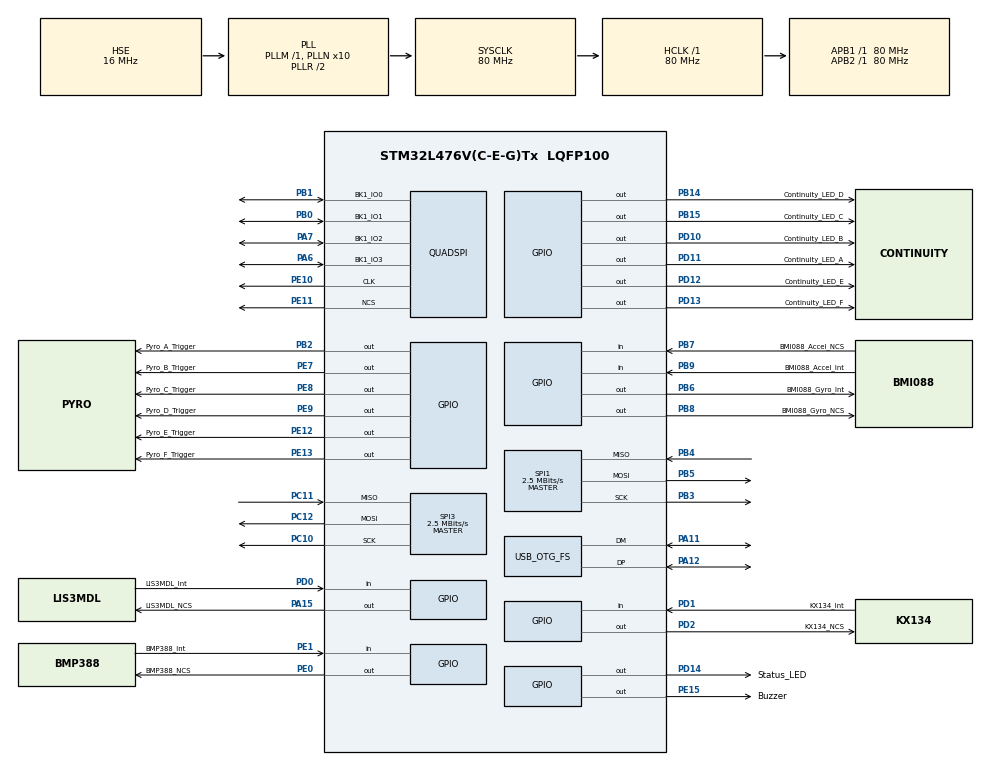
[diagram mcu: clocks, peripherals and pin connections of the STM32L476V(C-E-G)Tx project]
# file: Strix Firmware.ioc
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Mcu.Family=STM32L4
Mcu.Name=STM32L476V(C-E-G)Tx
Mcu.Package=LQFP100
NVIC.OTG_FS_IRQn=true\:0\:0\:false\:false\:true\:false\:true\:true
NVIC.PriorityGroup=NVIC_PRIORITYGROUP_4
PA11.Mode=Device_Only
PA11.Signal=USB_OTG_FS_DM
PA12.Mode=Device_Only
PA12.Signal=USB_OTG_FS_DP
PA13\ (JTMS-SWDIO).Mode=Serial_Wire
PA13\ (JTMS-SWDIO).Signal=SYS_JTMS-SWDIO
PA14\ (JTCK-SWCLK).Mode=Serial_Wire
PA14\ (JTCK-SWCLK).Signal=SYS_JTCK-SWCLK
PA15\ (JTDI).GPIO_Label=LIS3MDL_NCS
PA15\ (JTDI).Signal=GPIO_Output
PA6.Mode=Single Bank
PA6.Signal=QUADSPI_BK1_IO3
PA7.Mode=Single Bank
PA7.Signal=QUADSPI_BK1_IO2
PB0.Mode=Single Bank
PB0.Signal=QUADSPI_BK1_IO1
PB1.Mode=Single Bank
PB1.Signal=QUADSPI_BK1_IO0
PB14.GPIO_Label=Continuity_LED_D
PB14.Signal=GPIO_Output
PB15.GPIO_Label=Continuity_LED_C
PB15.Signal=GPIO_Output
PB2.GPIO_Label=Pyro_A_Trigger
PB2.Signal=GPIO_Output
PB3\ (JTDO-TRACESWO).Mode=Full_Duplex_Master
PB3\ (JTDO-TRACESWO).Signal=SPI1_SCK
PB4\ (NJTRST).Mode=Full_Duplex_Master
PB4\ (NJTRST).Signal=SPI1_MISO
PB5.Mode=Full_Duplex_Master
PB5.Signal=SPI1_MOSI
PB6.GPIO_Label=BMI088_Gyro_Int
PB6.Signal=GPIO_Output
PB7.GPIO_Label=BMI088_Accel_NCS
PB7.Signal=GPIO_Input
PB8.GPIO_Label=BMI088_Gyro_NCS
PB8.Signal=GPIO_Output
PB9.GPIO_Label=BMI088_Accel_Int
PB9.Signal=GPIO_Input
PC10.Mode=Full_Duplex_Master
PC10.Signal=SPI3_SCK
PC11.Mode=Full_Duplex_Master
PC11.Signal=SPI3_MISO
PC12.Mode=Full_Duplex_Master
PC12.Signal=SPI3_MOSI
PD0.GPIO_Label=LIS3MDL_Int
PD0.Signal=GPIO_Input
PD1.GPIO_Label=KX134_Int
PD1.Signal=GPIO_Input
PD10.GPIO_Label=Continuity_LED_B
PD10.Signal=GPIO_Output
PD11.GPIO_Label=Continuity_LED_A
PD11.Signal=GPIO_Output
PD12.GPIO_Label=Continuity_LED_E
PD12.Signal=GPIO_Output
PD13.GPIO_Label=Continuity_LED_F
PD13.Signal=GPIO_Output
PD14.GPIO_Label=Status_LED
PD14.Signal=GPIO_Output
PD2.GPIO_Label=KX134_NCS
PD2.Signal=GPIO_Output
PE0.GPIO_Label=BMP388_NCS
PE0.Signal=GPIO_Output
PE1.GPIO_Label=BMP388_Int
PE1.Signal=GPIO_Input
PE10.Mode=Single Bank
PE10.Signal=QUADSPI_CLK
PE11.Mode=Single Bank
PE11.Signal=QUADSPI_NCS
PE12.GPIO_Label=Pyro_E_Trigger
PE12.Signal=GPIO_Output
PE13.GPIO_Label=Pyro_F_Trigger
PE13.Signal=GPIO_Output
PE15.GPIO_Label=Buzzer
PE15.Signal=GPIO_Output
PE7.GPIO_Label=Pyro_B_Trigger
PE7.Signal=GPIO_Output
PE8.GPIO_Label=Pyro_C_Trigger
PE8.Signal=GPIO_Output
PE9.GPIO_Label=Pyro_D_Trigger
PE9.Signal=GPIO_Output
PH0-OSC_IN\ (PH0).Mode=HSE-External-Oscillator
PH0-OSC_IN\ (PH0).Signal=RCC_OSC_IN
PH1-OSC_OUT\ (PH1).Mode=HSE-External-Oscillator
PH1-OSC_OUT\ (PH1).Signal=RCC_OSC_OUT
ProjectManager.HeapSize=0x1200
ProjectManager.StackSize=0x800
ProjectManager.TargetToolchain=STM32CubeIDE
QUADSPI.ClockPrescaler-Single\ Bank=1
QUADSPI.FifoThreshold-Single\ Bank=4
QUADSPI.FlashSize-Single\ Bank=23
QUADSPI.SampleShifting-Single\ Bank=QSPI_SAMPLE_SHIFTING_HALFCYCLE
RCC.ADCFreq_Value=96000000
RCC.AHBFreq_Value=80000000
RCC.APB1Freq_Value=80000000
RCC.APB1TimFreq_Value=80000000
RCC.APB2Freq_Value=80000000
RCC.APB2TimFreq_Value=80000000
RCC.CortexFreq_Value=80000000
RCC.HCLKFreq_Value=80000000
RCC.HSE_VALUE=16000000
RCC.HSI_VALUE=16000000
RCC.LSE_VALUE=32768
RCC.MSI_VALUE=4000000
RCC.PLLN=10
RCC.PLLSAI1N=12
RCC.PLLSAI1Q=RCC_PLLQ_DIV4
RCC.PLLSourceVirtual=RCC_PLLSOURCE_HSE
RCC.SYSCLKFreq_VALUE=80000000
RCC.SYSCLKSource=RCC_SYSCLKSOURCE_PLLCLK
RCC.USBFreq_Value=48000000
RCC.VCOOutputFreq_Value=160000000
SPI1.BaudRatePrescaler=SPI_BAUDRATEPRESCALER_32
SPI1.CLKPhase=SPI_PHASE_2EDGE
SPI1.CLKPolarity=SPI_POLARITY_HIGH
SPI1.CalculateBaudRate=2.5 MBits/s
SPI1.DataSize=SPI_DATASIZE_8BIT
SPI1.Direction=SPI_DIRECTION_2LINES
SPI1.Mode=SPI_MODE_MASTER
SPI1.VirtualType=VM_MASTER
SPI3.BaudRatePrescaler=SPI_BAUDRATEPRESCALER_32
SPI3.CLKPhase=SPI_PHASE_2EDGE
SPI3.CLKPolarity=SPI_POLARITY_HIGH
SPI3.CalculateBaudRate=2.5 MBits/s
SPI3.DataSize=SPI_DATASIZE_8BIT
SPI3.Direction=SPI_DIRECTION_2LINES
SPI3.Mode=SPI_MODE_MASTER
SPI3.VirtualType=VM_MASTER
USB_DEVICE.CLASS_NAME_FS=CDC
USB_DEVICE.VirtualMode=Cdc
USB_DEVICE.VirtualModeFS=Cdc_FS
USB_OTG_FS.VirtualMode=Device_Only
VP_USB_DEVICE_VS_USB_DEVICE_CDC_FS.Mode=CDC_FS
board=custom

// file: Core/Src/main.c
/* USER CODE BEGIN Header */
/**
  ******************************************************************************
  * @file           : main.c
  * @brief          : Main program body
  ******************************************************************************
  * @attention
  *
  * Copyright (c) 2023 STMicroelectronics.
  * All rights reserved.
  *
  * This software is licensed under terms that can be found in the LICENSE file
  * in the root directory of this software component.
  * If no LICENSE file comes with this software, it is provided AS-IS.
  *
  ******************************************************************************
  */
/* USER CODE END Header */
#include "main.h"
#include "quadspi.h"
#include "spi.h"
#include "usb_device.h"
#include "gpio.h"

/* USER CODE BEGIN Includes */
#include "usbd_cdc_if.h"

#include "BMI088.h"
#include "BMP388.h"
#include "LIS3MDL.h"
#include "KX134.h"

/* USER CODE END Includes */

/* USER CODE BEGIN PD */
#define DATA_RECORDING_LENGTH  0x400000 // 4 MByte => 32 Bytes per sample => 131,072 samples => 200Hz => ~11 min
#define DATA_CONFIG_LOCATION 0x00 // start of the memory chip
/* USER CODE END PD */

/* USER CODE BEGIN PV */

//USB transmission code
uint8_t txBuffer[64];
uint8_t rxBuffer[64];
uint32_t txDataTransmitTick;
uint8_t usbStatus;
/*define the status of the USB transmission--
 * 		0 is nothing
 * 		1 is waiting for a recording choice
 * 		2 is waiting for confirmation to clear flash
 * 		3 is sending data ticks
 */

//QSPI Memory code
uint8_t flashWriteBuffer[256];
uint8_t flashReadBuffer[64];
uint8_t dataWritten;

uint32_t writeHead;
uint32_t writeHeadEnd;

uint8_t recordingData;
uint8_t newData; //store which sensors have new data

//status LED and Buzzer code
uint32_t ledTick;
uint16_t ledTimeout;
uint32_t buzzerTick;
uint8_t buzzerEnable;

//devices using hspi1
BMI088 bmi088;
BMP388 bmp388;
uint32_t bmiTick;
uint32_t bmpTick;

//devices using hspi3
LIS3MDL lis3mdl;
KX134 kx134;
uint32_t spi3Tick;

/* USER CODE END PV */

void SystemClock_Config(void);

int main(void)
{

  /* MCU Configuration--------------------------------------------------------*/

  /* Reset of all peripherals, Initializes the Flash interface and the Systick. */
  HAL_Init();

  /* Configure the system clock */
  SystemClock_Config();

  /* Initialize all configured peripherals */
  MX_GPIO_Init();
  MX_SPI1_Init();
  MX_USB_DEVICE_Init();
  MX_SPI3_Init();
  MX_QUADSPI_Init();
  /* USER CODE BEGIN 2 */

  /*
   *
   * SEND STARTING COMMUNICATION TO LAPTOP
   *
   *
   */

  CDC_Transmit_FS(txBuffer, sprintf((char *)txBuffer, "Waiting for connection..."));
  HAL_Delay(4000); //wait ten seconds so user has time to connect serial port viewer

  CDC_Transmit_FS(txBuffer, sprintf((char *)txBuffer, "\n# ------------------------------ \n#\n"));
  HAL_Delay(1); //this is a shitty fucking solution but whatever I'm not getting paid
  CDC_Transmit_FS(txBuffer, sprintf((char *)txBuffer, "# StrixFlight v0.0\n#\t\t\tRunning on Strix v3.0 \n#\n#\n"));
  HAL_Delay(1);
  CDC_Transmit_FS(txBuffer, sprintf((char *)txBuffer, "# ------------------------------ \n# Initializing sensors...\n"));
  HAL_Delay(1);

  /*
   *
   * INITIALIZE SENSORS
   *
   *
   */

  /*
   * devices that use hspi1
   */

  /* Initialize BMI088 */
  uint8_t bmi_status = BMI088_Init(&bmi088, &hspi1, BMI088_Accel_NCS_GPIO_Port, BMI088_Accel_NCS_Pin, BMI088_Gyro_NCS_GPIO_Port, BMI088_Gyro_NCS_Pin);
  CDC_Transmit_FS(txBuffer, sprintf((char *)txBuffer, "#\t\tStatus of BMI088: %i\n", bmi_status));
  HAL_Delay(1);

  /* Initialize BMP388 */
  /*
  uint8_t bmp_status = BMP388_Init(&bmp388, &hspi1, BMP388_NCS_GPIO_Port, BMP388_NCS_Pin);
  CDC_Transmit_FS(txBuffer, sprintf((char *)txBuffer, "%i\n", bmp_status));
  HAL_Delay(1);
  */

  /*
   * devices that use hspi3
   */

  uint8_t kx_status = KX134_Init(&kx134, &hspi3, KX134_NCS_GPIO_Port, KX134_NCS_Pin);
  CDC_Transmit_FS(txBuffer, sprintf((char *)txBuffer, "#\t\tStatus of KX134: %i\n", kx_status));
  HAL_Delay(1);
  /* Initialize LIS3MDL */
  uint8_t lis3mdl_status = LIS3MDL_Init(&lis3mdl, &hspi3, LIS3MDL_NCS_GPIO_Port, LIS3MDL_NCS_Pin);
  CDC_Transmit_FS(txBuffer, sprintf((char *)txBuffer, "#\t\tStatus of LIS3MDL: %i\n", lis3mdl_status));
  HAL_Delay(1);

  CDC_Transmit_FS(txBuffer, sprintf((char *)txBuffer, "# Finished Sensor Initialization\n"));
  HAL_Delay(1);

  /*
   *
   * QSPI Memory Status
   *
   */
  CDC_Transmit_FS(txBuffer, sprintf((char *)txBuffer, "# Reading Status from Flash Memory\n"));
  HAL_Delay(10);
  if (CSP_QUADSPI_Init() != HAL_OK) {
	  CDC_Transmit_FS(txBuffer, sprintf((char *)txBuffer, "#\t\tError Configuring QSPI Flash Chip:\n#\t\t\tW25Q128JVSIQ\n#\n"));
	  HAL_Delay(1);
  }

  //get 16 bytes, which hold configuration information
  CSP_QSPI_Read(flashReadBuffer, DATA_CONFIG_LOCATION, 16);

  //calculate the number of recordings
  uint8_t l = 7;
  while (flashReadBuffer[0] >>= 1) { --l; }
  CDC_Transmit_FS(txBuffer, sprintf((char *)txBuffer, "#\t\tNumber of Recordings: %i out of 7 possible\n", l));
  HAL_Delay(1);
  if (flashReadBuffer[0] > 0x4) {
	  HAL_GPIO_WritePin(Continuity_LED_E_GPIO_Port, Continuity_LED_E_Pin, GPIO_PIN_SET);
  }

  /*
   * TELL THE USER HOW TO COMMUNICATE
   */
  CDC_Transmit_FS(txBuffer, sprintf((char *)txBuffer, "#\n#\t1 to test USB functionality\n"));
  HAL_Delay(1);
  CDC_Transmit_FS(txBuffer, sprintf((char *)txBuffer, "#\t2 to access a recording\n"));
  HAL_Delay(1);
  CDC_Transmit_FS(txBuffer, sprintf((char *)txBuffer, "#\t3 to delete data (confirmation required)\n"));
  HAL_Delay(1);
  CDC_Transmit_FS(txBuffer, sprintf((char *)txBuffer, "#\t4 to toggle live sensor data reporting\n"));
  HAL_Delay(1);
  CDC_Transmit_FS(txBuffer, sprintf((char *)txBuffer, "#\t5 to test writing to the flash memory\n"));
  HAL_Delay(1);
  CDC_Transmit_FS(txBuffer, sprintf((char *)txBuffer, "#\t6 to read the cofiguration bytes back\n"));
  HAL_Delay(1);
  CDC_Transmit_FS(txBuffer, sprintf((char *)txBuffer, "#\t7 to write one data set to 256 in mem\n"));
  HAL_Delay(1);
  CDC_Transmit_FS(txBuffer, sprintf((char *)txBuffer, "#\t8 to clear the first sector\n#\n"));
  HAL_Delay(1);

  //set the usbStatus to 0 to confirm nothing has been requested yet
  usbStatus = 0;
  //set the ledTimeout to 500ms for nominal state
  ledTimeout = 500;
  //enable the buzzer
  buzzerEnable = 1;
  //set the writeHead
  writeHead = MEMORY_SECTOR_SIZE + flashReadBuffer[0]*DATA_RECORDING_LENGTH;
  //set the data recording end
  writeHeadEnd = MEMORY_SECTOR_SIZE + (flashReadBuffer[0]+1)*DATA_RECORDING_LENGTH;
  //set recordingData to 0 bc we haven't detected a launch yet
  recordingData = 0;
  //set the newData variable to 0 to prepare for recording data
  newData = 0;

  /* USER CODE END 2 */

  /* Infinite loop */
  /* USER CODE BEGIN WHILE */

  while (1)
  {
	/*
	 *
	 * COMMUNICATION WITH HOST COMPUTER (IF CONNECTED VIA USB)
	 *
	 *
	 */

	/*
	 *
	 * USBSTATUS--
	 * 	0 = normal
	 * 	3 = transmitting data ticks
	 * 	2 = reading stored data off of flash chip
	 * 	4 = deleting flash chip
	 *
	 */

	//check if there are any commands from the user
	if (rxBuffer[0] != 0) {
		if (usbStatus == 0 || usbStatus == 3) {
			//check what was sent
			if (rxBuffer[0] == '1') {
				//usb transmission test
				CDC_Transmit_FS(txBuffer, sprintf((char *)txBuffer, "\nUSB transmission confirmed functional\n"));
			}
			if (rxBuffer[0] == '2') {
				//check status of the flash memory chip
				CDC_Transmit_FS(txBuffer, sprintf((char *)txBuffer, "\nGetting Flash Memory Data...\n"));
				CSP_QSPI_Read(flashReadBuffer, DATA_CONFIG_LOCATION, 16);
				//calculate the number of recordings
				uint8_t l = 7;
				while (flashReadBuffer[0] >>= 1) { --l; }
				CDC_Transmit_FS(txBuffer, sprintf((char *)txBuffer, "\n\tThere are %i recordings\n", l));
				HAL_Delay(1);
				CDC_Transmit_FS(txBuffer, sprintf((char *)txBuffer, "\n\tChoose a recording number (starting at 0)\n"));
				usbStatus = 1;
			}
			if (rxBuffer[0] == '3') {
				//send the confirmation message and change current state
				CDC_Transmit_FS(txBuffer, sprintf((char *)txBuffer, "\nYou have requested to delete all flight recordings\n"));
				HAL_Delay(1);
				CDC_Transmit_FS(txBuffer, sprintf((char *)txBuffer, "\n\t\t\tEnter 'y' to proceed\n"));
				HAL_Delay(1);
				ledTimeout = 250;
				usbStatus = 2;
			}
			if (rxBuffer[0] == '4') {
				if (usbStatus != 3) {
					CDC_Transmit_FS(txBuffer, sprintf((char *)txBuffer, "\nStarting Data Transmission\n"));
					usbStatus = 3;
				} else {
					CDC_Transmit_FS(txBuffer, sprintf((char *)txBuffer, "\nStopping Data Transmission\n"));
					usbStatus = 0;
				}
			}
			if (rxBuffer[0] == '5') {
				CDC_Transmit_FS(txBuffer, sprintf((char *)txBuffer, "\nWriting config bytes\n"));
				//write new data
				for (uint8_t i = 0; i < 16; i++) {
					flashWriteBuffer[i] = 64+i;
				}
				CSP_QSPI_WriteMemory(flashWriteBuffer, DATA_CONFIG_LOCATION, 16);
				//reading new configuration
				CSP_QSPI_Read(flashReadBuffer, DATA_CONFIG_LOCATION, 16);
				//transmit to the host computer
				CDC_Transmit_FS(txBuffer, sprintf((char *)txBuffer, "%02X %02X %02X %02X %02X %02X %02X %02X %02X %02X %02X %02X %02X %02X %02X %02X\n", flashReadBuffer[0], flashReadBuffer[1],
						flashReadBuffer[2], flashReadBuffer[3], flashReadBuffer[4], flashReadBuffer[5], flashReadBuffer[6], flashReadBuffer[7], flashReadBuffer[8],
						flashReadBuffer[9], flashReadBuffer[10], flashReadBuffer[11], flashReadBuffer[12], flashReadBuffer[13], flashReadBuffer[14], flashReadBuffer[15]));
				HAL_Delay(1);
			}
			if (rxBuffer[0] == '6') {
				CDC_Transmit_FS(txBuffer, sprintf((char *)txBuffer, "\nReading Config Bytes\n"));
				//reading new configuration
				CSP_QSPI_Read(flashReadBuffer, DATA_CONFIG_LOCATION, 16);
				//transmit to the host computer
				CDC_Transmit_FS(txBuffer, sprintf((char *)txBuffer, "%02X %02X %02X %02X %02X %02X %02X %02X %02X %02X %02X %02X %02X %02X %02X %02X\n", flashReadBuffer[0], flashReadBuffer[1],
						flashReadBuffer[2], flashReadBuffer[3], flashReadBuffer[4], flashReadBuffer[5], flashReadBuffer[6], flashReadBuffer[7], flashReadBuffer[8],
						flashReadBuffer[9], flashReadBuffer[10], flashReadBuffer[11], flashReadBuffer[12], flashReadBuffer[13], flashReadBuffer[14], flashReadBuffer[15]));
				HAL_Delay(1);
			}
			if (rxBuffer[0] == '7') {
				//store data from the gyroscope into the first 32 bytes of the flashWriteBuffer
				uint32_t timeValue = HAL_GetTick();
				uint8_t timeArray[4];
				memcpy(timeArray, &timeValue, sizeof(uint32_t));
				CDC_Transmit_FS(txBuffer, sprintf((char *)txBuffer, "\nTime: %02X %02X %02X %02X\n", timeArray[0], timeArray[1], timeArray[2], timeArray[3]));

				for (uint8_t i = 0; i < 4; i++) {
					flashWriteBuffer[i] = timeArray[i];
				}
				for (uint8_t i = 0; i < 6; i++) {
					flashWriteBuffer[i+4] = bmi088.gyr_data[i];
				}
				for (uint8_t i = 0; i < 6; i++) {
					flashWriteBuffer[i+10] = bmi088.acc_data[i];
				}
				for (uint8_t i = 0; i < 6; i++) {
					flashWriteBuffer[i+16] = lis3mdl.data[i];
				}
				for (uint8_t i = 0; i < 6; i++) {
					flashWriteBuffer[i+22] = kx134.data[i];
				}
				for (uint8_t i = 0; i < 3; i++) {
					flashWriteBuffer[i+28] = bmp388.data[i];
				}
				flashWriteBuffer[31] = 0xFF;
				CDC_Transmit_FS(txBuffer, sprintf((char *)txBuffer, "\n%02X %02X", flashWriteBuffer[0], flashWriteBuffer[1]));
				HAL_Delay(1);

				//write data to the flash chip
				CSP_QSPI_WriteMemory(flashWriteBuffer, 256, 32);

				CSP_QSPI_Read(flashReadBuffer, 256, 32);
				//transmit to the host computer
				CDC_Transmit_FS(txBuffer, sprintf((char *)txBuffer, "\n%02X %02X", flashReadBuffer[0], flashReadBuffer[1]));
				HAL_Delay(1);
				CDC_Transmit_FS(txBuffer, sprintf((char *)txBuffer, "\n%02X %02X %02X %02X %02X %02X", flashReadBuffer[2], flashReadBuffer[3],
						flashReadBuffer[4], flashReadBuffer[5], flashReadBuffer[6], flashReadBuffer[7]));
				HAL_Delay(1);
				CDC_Transmit_FS(txBuffer, sprintf((char *)txBuffer, "\n%02X %02X %02X %02X %02X %02X", flashReadBuffer[8], flashReadBuffer[9],
						flashReadBuffer[10], flashReadBuffer[11], flashReadBuffer[12], flashReadBuffer[13]));
				HAL_Delay(1);
				CDC_Transmit_FS(txBuffer, sprintf((char *)txBuffer, "\n%02X %02X %02X %02X %02X %02X", flashReadBuffer[14], flashReadBuffer[15],
						flashReadBuffer[16], flashReadBuffer[17], flashReadBuffer[18], flashReadBuffer[19]));
				HAL_Delay(1);
				CDC_Transmit_FS(txBuffer, sprintf((char *)txBuffer, "\n%02X %02X %02X %02X %02X %02X", flashReadBuffer[20], flashReadBuffer[21],
						flashReadBuffer[22], flashReadBuffer[23], flashReadBuffer[24], flashReadBuffer[25]));
				HAL_Delay(1);
				CDC_Transmit_FS(txBuffer, sprintf((char *)txBuffer, "\n%02X %02X %02X %02X %02X %02X\n", flashReadBuffer[26], flashReadBuffer[27],
						flashReadBuffer[28], flashReadBuffer[29], flashReadBuffer[30], flashReadBuffer[31]));
				HAL_Delay(1);
			}
			if (rxBuffer[0] == '8') {
				//need to erase flash memory before stuff can be re-written
				if(CSP_QSPI_EraseSector(0, MEMORY_SECTOR_SIZE) == HAL_OK) {
					CDC_Transmit_FS(txBuffer, sprintf((char *)txBuffer, "\nFirst flash memory sector rewritten\n"));
				}
			}
		} else if (usbStatus == 1) {
			//usbStatus of 1 corresponds to the user requesting a recording
			//the number that was transmitted must be the desired recording
			if (rxBuffer[0] > 47 && rxBuffer[0] < 58) { //ASCII values for 0-9
				//calculate starting address
				uint32_t start_address = (DATA_RECORDING_LENGTH * (rxBuffer[0]-48)) + MEMORY_SECTOR_SIZE; //add sector b.c. writeHead starts after the first sector (config bytes)
				uint32_t address = start_address;
				//read data page by page and transmit through serial port
				CDC_Transmit_FS(txBuffer, sprintf((char *)txBuffer, "\nTime,\t\t\tBMI088 Gyro,\t\t\tBMI088 Accel,\t\t\t"));
				HAL_Delay(1);
				CDC_Transmit_FS(txBuffer, sprintf((char *)txBuffer, "LIS3MDL,\t\t\tKX134,\t\t\tBMP388\n\n"));
				do {
					//read 32 bytes at a time
					CSP_QSPI_Read(flashReadBuffer, address, 32);
					CDC_Transmit_FS(txBuffer, sprintf((char *)txBuffer, "\n"));
					HAL_Delay(1);
					//print out the 8 bytes to the computer
					CDC_Transmit_FS(txBuffer, sprintf((char *)txBuffer, "%02X%02X%02X%02X,    %02X%02X, %02X%02X, %02X%02X,    %02X%02X, %02X%02X, %02X%02X,     %02X%02X", flashReadBuffer[0], flashReadBuffer[1],
												flashReadBuffer[2], flashReadBuffer[3], flashReadBuffer[4], flashReadBuffer[5], flashReadBuffer[6], flashReadBuffer[7], flashReadBuffer[8],
												flashReadBuffer[9], flashReadBuffer[10], flashReadBuffer[11], flashReadBuffer[12], flashReadBuffer[13], flashReadBuffer[14], flashReadBuffer[15], flashReadBuffer[16], flashReadBuffer[17]));
					HAL_Delay(1);
					CDC_Transmit_FS(txBuffer, sprintf((char *)txBuffer, ", %02X%02X, %02X%02X,     %02X%02X, %02X%02X, %02X%02X,     %02X%02X%02X", flashReadBuffer[18], flashReadBuffer[19], flashReadBuffer[20], flashReadBuffer[21],
																	flashReadBuffer[22], flashReadBuffer[23], flashReadBuffer[24], flashReadBuffer[25], flashReadBuffer[26], flashReadBuffer[27],
																	flashReadBuffer[28], flashReadBuffer[29], flashReadBuffer[30]));
					address+=32;
				} while (address < start_address+DATA_RECORDING_LENGTH);
			} else {
				CDC_Transmit_FS(txBuffer, sprintf((char *)txBuffer, "\nExit confirmed\n"));
			}
			usbStatus = 0;
			ledTimeout = 500;
		} else if (usbStatus == 2) {
			//check if we have confirmation to delete the entire chip
			if (rxBuffer[0] == 'y') {

				CSP_QSPI_Erase_Chip();
				CDC_Transmit_FS(txBuffer, sprintf((char *)txBuffer, "\nChip Rewritten\n"));
				for (uint8_t i = 0; i < 16; i++) {
					flashWriteBuffer[i] = i;
				}
				flashWriteBuffer[0] = 255;
				CSP_QSPI_WriteMemory(flashWriteBuffer, DATA_CONFIG_LOCATION, 16);
				CDC_Transmit_FS(txBuffer, sprintf((char *)txBuffer, "\nFlash config rewritten\n"));
			} else {
				CDC_Transmit_FS(txBuffer, sprintf((char *)txBuffer, "\nExit Confirmed\n"));
			}
			usbStatus = 0;
			ledTimeout = 500;
		}
		//reset the rxBuffer so we don't accidentally do things multiple times
		memset (rxBuffer, '\0', 64);
	}

	//check if it's time to transmit the next data tick yet
	if (HAL_GetTick() > txDataTransmitTick + 1000 && usbStatus == 3) {
		//update the last time data was transmitted
		txDataTransmitTick = HAL_GetTick();

		//transmit the current data from the sensor structures
		CDC_Transmit_FS(txBuffer, sprintf((char *)txBuffer, "deg/sec: x: %.3f   y: %.3f   z: %.3f\n",
					bmi088.gyr_rps[0],bmi088.gyr_rps[1],bmi088.gyr_rps[2]));
		HAL_Delay(1);
		CDC_Transmit_FS(txBuffer, sprintf((char *)txBuffer, "BMI m/s^2: x: %.3f   y: %.3f   z: %.3f\n", bmi088.acc_mps2[0],bmi088.acc_mps2[1],bmi088.acc_mps2[2]));
		HAL_Delay(1);
		//CDC_Transmit_FS(txBuffer, sprintf((char *)txBuffer, "Pressure: %.5f; Temperature: %.5f\n", bmp388.pressure,bmp388.temperature));
		//HAL_Delay(1);
		CDC_Transmit_FS(txBuffer, sprintf((char *)txBuffer, "KX134 m/s^2: x: %.3f   y: %.3f   z: %.3f\n", kx134.acc_mps2[0],kx134.acc_mps2[1],kx134.acc_mps2[2]));
		HAL_Delay(1);
		CDC_Transmit_FS(txBuffer, sprintf((char *)txBuffer, "LIS3MDL: x: %.3f   y: %.3f   z: %.3f\n", lis3mdl.mag[0],lis3mdl.mag[1],lis3mdl.mag[2]));
		HAL_Delay(1);
	}

	/*
	 *
	 * COMMUNICATION WITH SENSORS
	 *
	 *
	 */

	/*
	 * devices using hspi1
	 */
	//BMI088_ReadAccelerometer(&bmi088);

	/*
	 * TODO:
	 * 	Use fucking DMA next time
	 */
	if (HAL_GetTick() >= bmiTick + 5) { //interrupts fucking suck-- this should trigger ~200Hz
		bmiTick = HAL_GetTick();
		newData = newData | 0x1;
		BMI088_ReadGyroscope(&bmi088);
		BMI088_ReadAccelerometer(&bmi088);
	}

	/*
	if (HAL_GetTick() >= bmpTick + 10) { //interrupts fucking suck-- this should trigger ~100Hz
		bmpTick = HAL_GetTick();
		newData = newData | 0x2;
		//BMP388_Read(&bmp388);
	}
	*/

	/*
	 *devices using hspi3
	 */
	if (HAL_GetTick() >= spi3Tick + 5) { //interrupts fucking suck-- this should trigger ~200Hz
		spi3Tick = HAL_GetTick();
		newData = newData | 0x4;
		KX134_Read(&kx134);
		LIS3MDL_Read(&lis3mdl);
	}

	/*
	 *
	 * DATA RECORDING
	 *
	 *
	 */

	if (recordingData == 1) {
		//check if there is new data from the gyroscope
		if ((newData & 0x01) == 0x01) {
			//store data from the gyroscope into the first 32 bytes of the flashWriteBuffer
			uint8_t *timeArray;
			uint16_t timeValue = HAL_GetTick() & 0xFFFF;
			timeArray = (uint8_t*)(&timeValue);

			for (uint8_t i = 0; i < 4; i++) {
				flashWriteBuffer[i] = timeArray[i];
			}
			for (uint8_t i = 0; i < 6; i++) {
				flashWriteBuffer[i+4] = bmi088.gyr_data[i];
			}
			for (uint8_t i = 0; i < 6; i++) {
				flashWriteBuffer[i+10] = bmi088.acc_data[i];
			}
			for (uint8_t i = 0; i < 6; i++) {
				flashWriteBuffer[i+16] = lis3mdl.data[i];
			}
			for (uint8_t i = 0; i < 6; i++) {
				flashWriteBuffer[i+22] = kx134.data[i];
			}
			for (uint8_t i = 0; i < 3; i++) {
				flashWriteBuffer[i+28] = bmp388.data[i];
			}
			flashWriteBuffer[31] = 0xFF;

			if (writeHead % 256 == 0) {
				//write data to the flash chip
				CSP_QSPI_WriteMemory(flashWriteBuffer, writeHead-256, 256);
			}

			if (writeHead > writeHeadEnd) {
				//if we reached the end of the data recording length, turn off the function to record data
				recordingData = 0;
				CDC_Transmit_FS(txBuffer, sprintf((char *)txBuffer, "Done Recording Data\n"));
				HAL_GPIO_WritePin(Continuity_LED_A_GPIO_Port, Continuity_LED_A_Pin, GPIO_PIN_RESET); //reset the gpio pin A to show no longer recording data
			}
			newData = 0;
		}
	} else {
		if (kx134.acc_mps2[0] > 30.f || kx134.acc_mps2[0] < -30.f || kx134.acc_mps2[1] > 30.f || kx134.acc_mps2[1] < -30.f || kx134.acc_mps2[2] > 30.f || kx134.acc_mps2[2] < -30.f) {
			HAL_GPIO_WritePin(Continuity_LED_B_GPIO_Port, Continuity_LED_B_Pin, GPIO_PIN_SET);
			//if we detect movement, check if we haven't already recorded a flight
			//get the current config information
			CSP_QSPI_Read(flashReadBuffer, DATA_CONFIG_LOCATION, 16);
			if (dataWritten == 0 && flashReadBuffer[0] > 31) { //we only want to record up to four times
				//copy the data read in from the flashReadBuffer to the flashWriteBuffer
				for (uint8_t i = 0; i < 16; i++) {
					flashWriteBuffer[i] = flashReadBuffer[i];
				}
				/*
				 * Increment the location of the flash storage-- because of the way NOR memory works,
				 * once a byte has been written 0, it cannot be changed without erasing the sector--
				 * this means we obtain a counter from 1 to 8 by bit shifting down, setting each consecutive
				 * MSB to 0 to indicate another recording
				 */
				flashWriteBuffer[0] = flashWriteBuffer[0] >> 1;

				//need to erase flash memory before stuff can be re-written
				CSP_QSPI_EraseSector(0, MEMORY_SECTOR_SIZE);
				CSP_QSPI_WriteMemory(flashWriteBuffer, DATA_CONFIG_LOCATION, 16);

				CSP_QSPI_Read(flashReadBuffer, DATA_CONFIG_LOCATION, 16);
				//transmit to the host computer
				CDC_Transmit_FS(txBuffer, sprintf((char *)txBuffer, "%02X %02X %02X %02X %02X %02X %02X %02X %02X %02X %02X %02X %02X %02X %02X %02X\n", flashReadBuffer[0], flashReadBuffer[1],
						flashReadBuffer[2], flashReadBuffer[3], flashReadBuffer[4], flashReadBuffer[5], flashReadBuffer[6], flashReadBuffer[7], flashReadBuffer[8],
						flashReadBuffer[9], flashReadBuffer[10], flashReadBuffer[11], flashReadBuffer[12], flashReadBuffer[13], flashReadBuffer[14], flashReadBuffer[15]));
				HAL_Delay(1);

				CDC_Transmit_FS(txBuffer, sprintf((char *)txBuffer, "Recording Data...%i\n", flashWriteBuffer[0]));
				HAL_Delay(1);

				//if recording starts, LED A goes high, if movement is detected but no recording is started, LED B goes high
				HAL_GPIO_WritePin(Continuity_LED_B_GPIO_Port, Continuity_LED_B_Pin, GPIO_PIN_RESET);
				HAL_GPIO_WritePin(Continuity_LED_A_GPIO_Port, Continuity_LED_A_Pin, GPIO_PIN_SET);

				//set recording flags
				recordingData = 1;
				dataWritten = 1;
			}
		}
	}

	/*
	 *
	 * LED AND BUZZER FEEDBACK
	 *
	 *
	 */
	if (HAL_GetTick() > ledTick + ledTimeout) {
		ledTick = HAL_GetTick();
		HAL_GPIO_TogglePin(Status_LED_GPIO_Port, Status_LED_Pin);
		if (recordingData == 1) {
			HAL_GPIO_TogglePin(Continuity_LED_C_GPIO_Port, Continuity_LED_C_Pin);
		}
		//ternary expression to toggle buzzerEnable on and off
		buzzerEnable = (buzzerEnable == 0) ? 1 : 0;
	}
	//TODO: use a timer and actual PWM b.c. tones other than 1kHz are nice and more efficient computationally
	if (HAL_GetTick() > buzzerTick && buzzerEnable && buzzerTick < 0xFFFFF) {
		HAL_GPIO_TogglePin(Buzzer_GPIO_Port, Buzzer_Pin);
		buzzerTick = HAL_GetTick();
	} else if (buzzerTick > 0xFFFF) {
		HAL_GPIO_WritePin(Buzzer_GPIO_Port, Buzzer_Pin, GPIO_PIN_RESET);
	}

    /* USER CODE END WHILE */

  }
}

void SystemClock_Config(void)
{
  RCC_OscInitTypeDef RCC_OscInitStruct = {0};
  RCC_ClkInitTypeDef RCC_ClkInitStruct = {0};

  /** Configure the main internal regulator output voltage
  */
  if (HAL_PWREx_ControlVoltageScaling(PWR_REGULATOR_VOLTAGE_SCALE1) != HAL_OK)
  {
    Error_Handler();
  }

  /** Initializes the RCC Oscillators according to the specified parameters
  * in the RCC_OscInitTypeDef structure.
  */
  RCC_OscInitStruct.OscillatorType = RCC_OSCILLATORTYPE_HSE;
  RCC_OscInitStruct.HSEState = RCC_HSE_ON;
  RCC_OscInitStruct.PLL.PLLState = RCC_PLL_ON;
  RCC_OscInitStruct.PLL.PLLSource = RCC_PLLSOURCE_HSE;
  RCC_OscInitStruct.PLL.PLLM = 1;
  RCC_OscInitStruct.PLL.PLLN = 10;
  RCC_OscInitStruct.PLL.PLLP = RCC_PLLP_DIV7;
  RCC_OscInitStruct.PLL.PLLQ = RCC_PLLQ_DIV2;
  RCC_OscInitStruct.PLL.PLLR = RCC_PLLR_DIV2;
  if (HAL_RCC_OscConfig(&RCC_OscInitStruct) != HAL_OK)
  {
    Error_Handler();
  }

  /** Initializes the CPU, AHB and APB buses clocks
  */
  RCC_ClkInitStruct.ClockType = RCC_CLOCKTYPE_HCLK|RCC_CLOCKTYPE_SYSCLK
                              |RCC_CLOCKTYPE_PCLK1|RCC_CLOCKTYPE_PCLK2;
  RCC_ClkInitStruct.SYSCLKSource = RCC_SYSCLKSOURCE_PLLCLK;
  RCC_ClkInitStruct.AHBCLKDivider = RCC_SYSCLK_DIV1;
  RCC_ClkInitStruct.APB1CLKDivider = RCC_HCLK_DIV1;
  RCC_ClkInitStruct.APB2CLKDivider = RCC_HCLK_DIV1;

  if (HAL_RCC_ClockConfig(&RCC_ClkInitStruct, FLASH_LATENCY_4) != HAL_OK)
  {
    Error_Handler();
  }
}

void Error_Handler(void)
{
  /* USER CODE BEGIN Error_Handler_Debug */
  /* User can add his own implementation to report the HAL error return state */
  __disable_irq();
  HAL_GPIO_WritePin(Pyro_A_Trigger_GPIO_Port, Pyro_A_Trigger_Pin, GPIO_PIN_SET);
  while (1)
  {
	  HAL_GPIO_TogglePin(Pyro_F_Trigger_GPIO_Port, Pyro_F_Trigger_Pin);
	  HAL_Delay(250);
  }
  /* USER CODE END Error_Handler_Debug */
}
